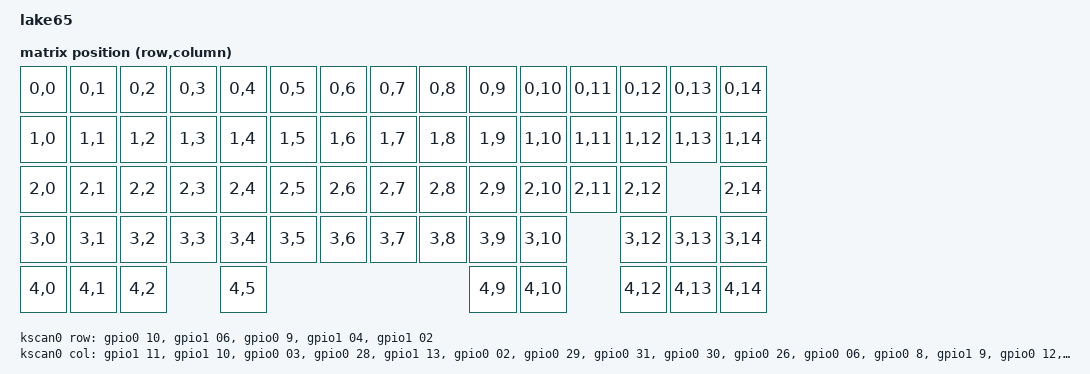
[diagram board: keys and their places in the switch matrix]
/*
 * Copyright (c) 2021 Nick Winans
 *
 * SPDX-License-Identifier: MIT
 */

/dts-v1/;
#include <nordic/nrf52840_qiaa.dtsi>
#include <dt-bindings/zmk/matrix_transform.h>

/ {
	model = "lake65";
	compatible = "lake65";

	chosen {
		zephyr,code-partition = &code_partition;
		zephyr,sram = &sram0;
		zephyr,flash = &flash0;
		zmk,kscan = &kscan0;
		zmk,matrix_transform = &default_transform;
		zmk,underglow = &led_strip;
	};

	default_transform: keymap_transform_0 {
		compatible = "zmk,matrix-transform";
		columns = <15>;
		rows = <6>;
		map = <
RC(0,0) RC(0,1) RC(0,2) RC(0,3) RC(0,4) RC(0,5) RC(0,6) RC(0,7) RC(0,8) RC(0,9) RC(0,10) RC(0,11) RC(0,12) RC(0,13) RC(0,14)    
RC(1,0) RC(1,1) RC(1,2) RC(1,3) RC(1,4) RC(1,5) RC(1,6) RC(1,7) RC(1,8) RC(1,9) RC(1,10) RC(1,11) RC(1,12) RC(1,13) RC(1,14)   
RC(2,0) RC(2,1) RC(2,2) RC(2,3) RC(2,4) RC(2,5) RC(2,6) RC(2,7) RC(2,8) RC(2,9) RC(2,10) RC(2,11) RC(2,12)          RC(2,14) 
RC(3,0) RC(3,1) RC(3,2) RC(3,3) RC(3,4) RC(3,5) RC(3,6) RC(3,7) RC(3,8) RC(3,9) RC(3,10)          RC(3,12) RC(3,13) RC(3,14)
RC(4,0) RC(4,1) RC(4,2)         RC(4,5)                                 RC(4,9)  RC(4,10)         RC(4,12) RC(4,13) RC(4,14)	
		>;
	};

	kscan0: kscan {
		compatible = "zmk,kscan-gpio-matrix";
		label = "KSCAN";

		diode-direction = "col2row";
		row-gpios
			= <&gpio0 10 (GPIO_ACTIVE_HIGH | GPIO_PULL_DOWN)>
			, <&gpio1 06 (GPIO_ACTIVE_HIGH | GPIO_PULL_DOWN)>
			, <&gpio0  9 (GPIO_ACTIVE_HIGH | GPIO_PULL_DOWN)>
			, <&gpio1 04 (GPIO_ACTIVE_HIGH | GPIO_PULL_DOWN)>
			, <&gpio1 02 (GPIO_ACTIVE_HIGH | GPIO_PULL_DOWN)>
			;
		col-gpios
			= <&gpio1 11 GPIO_ACTIVE_HIGH> 
			, <&gpio1 10 GPIO_ACTIVE_HIGH> 
			, <&gpio0 03 GPIO_ACTIVE_HIGH> 
			, <&gpio0 28 GPIO_ACTIVE_HIGH> 
			, <&gpio1 13 GPIO_ACTIVE_HIGH> 
			, <&gpio0 02 GPIO_ACTIVE_HIGH> 
			, <&gpio0 29 GPIO_ACTIVE_HIGH> 
			, <&gpio0 31 GPIO_ACTIVE_HIGH> 
			, <&gpio0 30 GPIO_ACTIVE_HIGH> 
			, <&gpio0 26 GPIO_ACTIVE_HIGH> 
			, <&gpio0 06 GPIO_ACTIVE_HIGH> 
			, <&gpio0  8 GPIO_ACTIVE_HIGH> 
			, <&gpio1  9 GPIO_ACTIVE_HIGH> 
			, <&gpio0 12 GPIO_ACTIVE_HIGH> 
			, <&gpio0 07 GPIO_ACTIVE_HIGH> 
			;
	};

	leds {
		compatible = "gpio-leds";
		blue_led: led_0 {
			gpios = <&gpio0 15 GPIO_ACTIVE_HIGH>;
			label = "Blue LED";
		};
	};

	ext-power {
		compatible = "zmk,ext-power-generic";
		label = "EXT_POWER";
		control-gpios = <&gpio0 17 GPIO_ACTIVE_LOW>;
	};

	vbatt {
		compatible = "zmk,battery-voltage-divider";
		label = "BATTERY";
		io-channels = <&adc 4>;
		output-ohms = <2000000>;
		full-ohms = <(2000000 + 806000)>;
	};
};

&adc {
	status = "okay";
};

&gpiote {
	status = "okay";
};

&gpio0 {
	status = "okay";
};

&gpio1 {
	status = "okay";
};
&pwm0 {
    status = "okay";
    ch0-pin = <41>;
    /* ch0-inverted; */
};

&spi0 {
	compatible = "nordic,nrf-spim";
	/* Cannot be used together with i2c0. */
	status = "okay";
	sck-pin = <27>;
	mosi-pin = <5>;
	miso-pin = <25>;

	led_strip: ws2812@0 {
		compatible = "worldsemi,ws2812-spi";
		label = "WS2812";

		/* SPI */
		reg = <0>; /* ignored, but necessary for SPI bindings */
		spi-max-frequency = <4000000>;

		/* WS2812 */
		chain-length = <0>; /* LED strip length */
		spi-one-frame = <0x70>;
		spi-zero-frame = <0x40>;
	};
};
/ {
	chosen {
		zmk,underglow = &led_strip;
	};
};

&usbd {
	status = "okay";
};

&flash0 {
	/*
	 * For more information, see:
	 * http://docs.zephyrproject.org/latest/devices/dts/flash_partitions.html
	 */
	partitions {
		compatible = "fixed-partitions";
		#address-cells = <1>;
		#size-cells = <1>;

		sd_partition: partition@0 {
			label = "mbr";
			reg = <0x00000000 0x00001000>;
		};

		code_partition: partition@1000 {
			label = "code_partition";
			reg = <0x00001000 0x000d3000>;
		};

		/*
		 * The flash starting at 0x000d4000 and ending at
		 * 0x000f3fff is reserved for use by the application.
		 */

		/*
		 * Storage partition will be used by FCB/LittleFS/NVS
		 * if enabled.
		 */
		storage_partition: partition@d4000 {
			label = "storage";
			reg = <0x000d4000 0x00020000>;
		};

		boot_partition: partition@f4000 {
			label = "adafruit_boot";
			reg = <0x000f4000 0x0000c000>;
		};
	};
};
